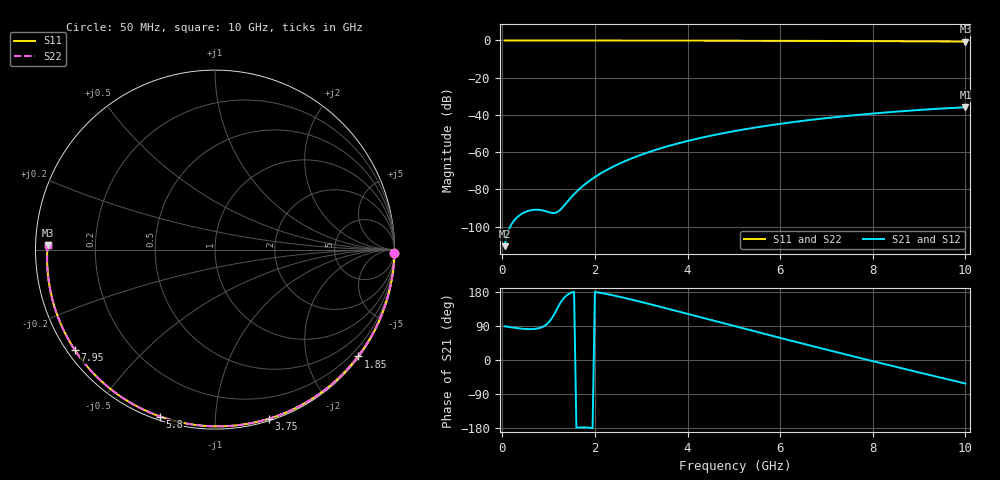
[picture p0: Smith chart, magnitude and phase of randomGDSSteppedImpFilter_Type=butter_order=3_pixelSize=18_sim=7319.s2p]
! freq	dB(S11)	phase(S11)	dB(S12)	phase(S12)
!  dB(S21)	phase(S21)	dB(S22)	phase(S22)
!S-par simulation data
#  GHz  S  DB  R 50
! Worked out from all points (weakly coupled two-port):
!   200 points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, 50 MHz to 10 GHz, reference 50 ohm
!   highest |S21| = -35.89 dB at 10 GHz (marker M1); lowest = -110.5 dB at 50 MHz (marker M2)
!   lowest |S11| = -0.6 dB at 10 GHz (marker M3), VSWR 28.92, Z = 1.73 + j0.676 ohm
!   |S11| at or under -10 dB: nowhere
!   |S22| runs from -0.6 to 0.0 dB; largest |S21 - S12| = 0
!   S11 on the Smith chart (normalised r, x): 50 MHz: open; 1.85 GHz: 0.03, -3.01; 3.75 GHz: 0.02, -1.37; 5.8 GHz: 0.02, -0.72; 7.95 GHz: 0.02, -0.32; 10 GHz: 0.03, +0.01
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0.05  -0.00 -1.0  -110.48 89.0  -110.48 89.0  -0.00 -1.0
0.45  -0.01 -9.1  -92.68 82.3  -92.68 82.3  -0.01 -9.1
0.85  -0.02 -17.1  -91.18 86.4  -91.18 86.4  -0.02 -17.1
1.25  -0.03 -25.0  -91.00 149.9  -91.00 149.9  -0.03 -25.0
1.65  -0.04 -32.9  -80.13 -178.1  -80.13 -178.1  -0.04 -32.9
1.75  -0.04 -34.8  -77.94 -177.7  -77.94 -177.7  -0.04 -34.8
1.85  -0.05 -36.8  -75.98 -178.4  -75.98 -178.4  -0.05 -36.8
2.15  -0.05 -42.6  -71.03 176.5  -71.03 176.5  -0.05 -42.6
2.5  -0.06 -49.2  -66.48 167.7  -66.48 167.7  -0.06 -49.2
2.9  -0.07 -56.8  -62.30 156.2  -62.30 156.2  -0.07 -56.8
3.4  -0.09 -66.0  -58.07 140.8  -58.07 140.8  -0.09 -66.0
3.75  -0.10 -72.4  -55.58 129.8  -55.58 129.8  -0.10 -72.4
4.4  -0.12 -84.0  -51.69 109.1  -51.69 109.1  -0.12 -84.0
5.05  -0.15 -95.4  -48.52 88.4  -48.52 88.4  -0.15 -95.4
5.8  -0.19 -108.2  -45.49 64.6  -45.49 64.6  -0.19 -108.2
6.7  -0.24 -123.4  -42.55 36.6  -42.55 36.6  -0.24 -123.4
7.3  -0.29 -133.4  -40.90 18.1  -40.90 18.1  -0.29 -133.4
7.95  -0.35 -144.5  -39.36 -1.6  -39.36 -1.6  -0.35 -144.5
8.35  -0.39 -151.3  -38.53 -13.6  -38.53 -13.6  -0.39 -151.4
9.2  -0.49 -166.5  -37.01 -38.8  -37.01 -38.8  -0.49 -166.5
9.6  -0.54 -173.9  -36.41 -50.4  -36.41 -50.4  -0.54 -173.9
10  -0.60 178.4  -35.89 -62.0  -35.89 -62.0  -0.60 178.4
